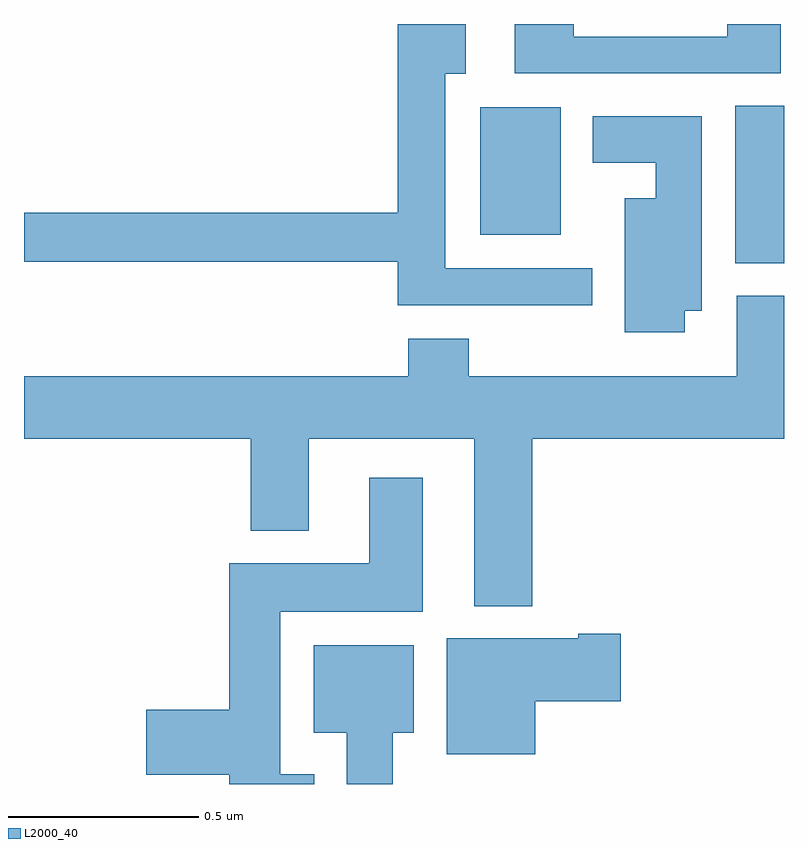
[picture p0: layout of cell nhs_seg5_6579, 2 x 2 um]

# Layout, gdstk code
import gdstk
lib = gdstk.Library(unit=1e-6, precision=1e-09)
def R(c, l, rs):  # rectangles x0, y0, x1, y1
    for r in rs: c.add(gdstk.rectangle(r[:2], r[2:], *l))
def P(c, l, *ps):  # polygons
    for p in ps: c.add(gdstk.Polygon(p, *l))
L2000_40 = (2000, 40)

nhs_seg5_6579 = lib.new_cell('nhs_seg5_6579')
R(nhs_seg5_6579, L2000_40, [(198.872,909.169,199,909.584), (198.2,909.245,198.412,909.58)])
P(nhs_seg5_6579, L2000_40, [(198.496,909.156),(198.109,909.156),(198.109,909.668),(198.163,909.668),(198.163,909.799),(197.984,909.799),(197.984,909.302),(197,909.302),(197,909.174),(197.984,909.174),(197.984,909.059),(198.496,909.059)],
  [(198.991,909.799),(198.851,909.799),(198.851,909.765),(198.447,909.765),(198.447,909.799),(198.291,909.799),(198.291,909.669),(198.991,909.669)],
  [(198.739,909.044),(198.784,909.044),(198.784,909.556),(198.497,909.556),(198.497,909.434),(198.662,909.434),(198.662,909.34),(198.581,909.34),(198.581,908.988),(198.739,908.988)],
  [(198.338,908.708),(199,908.708),(199,909.084),(198.875,909.084),(198.875,908.872),(198.171,908.872),(198.171,908.971),(198.011,908.971),(198.011,908.872),(197,908.872),(197,908.708),(197.597,908.708),(197.597,908.465),(197.749,908.465),(197.749,908.708),(198.185,908.708),(198.185,908.267),(198.338,908.267)],
  [(197.764,907.825),(197.674,907.825),(197.674,908.252),(198.049,908.252),(198.049,908.605),(197.909,908.605),(197.909,908.38),(197.54,908.38),(197.54,907.994),(197.322,907.994),(197.322,907.823),(197.54,907.823),(197.54,907.799),(197.764,907.799)],
  [(198.346,908.017),(198.571,908.017),(198.571,908.195),(198.458,908.195),(198.458,908.182),(198.113,908.182),(198.113,907.877),(198.346,907.877)],
  [(197.971,907.934),(198.025,907.934),(198.025,908.164),(197.762,908.164),(197.762,907.934),(197.849,907.934),(197.849,907.799),(197.971,907.799)])

lib.write_gds('nhs_seg5_6579.gds')
